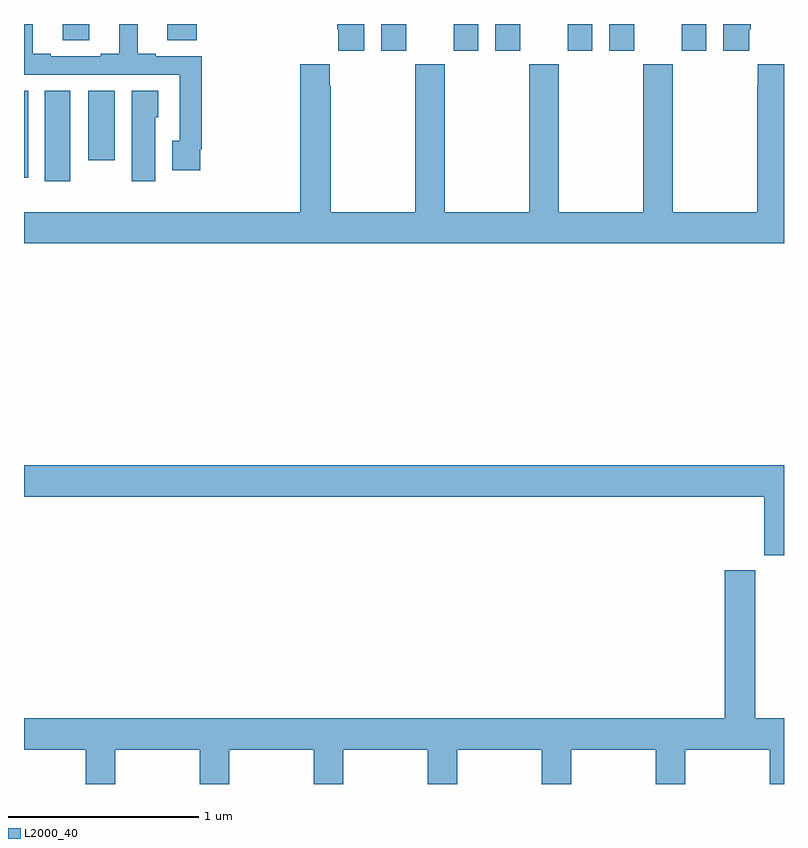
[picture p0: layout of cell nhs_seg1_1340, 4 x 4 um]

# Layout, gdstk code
import gdstk
lib = gdstk.Library(unit=1e-6, precision=1e-09)
def R(c, l, rs):  # rectangles x0, y0, x1, y1
    for r in rs: c.add(gdstk.rectangle(r[:2], r[2:], *l))
def P(c, l, *ps):  # polygons
    for p in ps: c.add(gdstk.Polygon(p, *l))
L2000_40 = (2000, 40)

nhs_seg1_1340 = lib.new_cell('nhs_seg1_1340')
R(nhs_seg1_1340, L2000_40, [(183.11,573.372,183.244,573.848), (183,573.39,183.022,573.848), (183.338,573.483,183.478,573.848), (184.88,574.059,185.011,574.199), (185.261,574.059,185.392,574.199), (185.48,574.059,185.611,574.199), (185.861,574.059,185.992,574.199), (186.08,574.059,186.211,574.199), (186.461,574.059,186.592,574.199), (183.203,574.114,183.343,574.199), (183.755,574.114,183.908,574.199)])
P(nhs_seg1_1340, L2000_40, [(183.928,573.541),(183.935,573.541),(183.935,574.029),(183.694,574.029),(183.694,574.042),(183.598,574.042),(183.598,574.199),(183.5,574.199),(183.5,574.042),(183.404,574.042),(183.404,574.029),(183.142,574.029),(183.142,574.042),(183.046,574.042),(183.046,574.199),(183,574.199),(183,573.933),(183.819,573.933),(183.819,573.585),(183.779,573.585),(183.779,573.429),(183.928,573.429)],
  [(186.817,574.171),(186.824,574.171),(186.824,574.199),(186.68,574.199),(186.68,574.059),(186.817,574.059)],
  [(184.792,574.199),(184.649,574.199),(184.649,574.171),(184.655,574.171),(184.655,574.059),(184.792,574.059)],
  [(187,573.988),(186.863,573.988),(186.863,573.875),(186.859,573.875),(186.859,573.208),(186.414,573.208),(186.414,573.988),(186.259,573.988),(186.259,573.208),(185.814,573.208),(185.814,573.988),(185.659,573.988),(185.659,573.208),(185.214,573.208),(185.214,573.988),(185.059,573.988),(185.059,573.208),(184.614,573.208),(184.614,573.875),(184.609,573.875),(184.609,573.988),(184.454,573.988),(184.454,573.208),(183,573.208),(183,573.044),(187,573.044)],
  [(183.691,573.708),(183.706,573.708),(183.706,573.848),(183.566,573.848),(183.566,573.372),(183.691,573.372)],
  [(187,571.876),(183,571.876),(183,571.712),(186.896,571.712),(186.896,571.403),(187,571.403)],
  [(186.689,571.324),(186.689,570.544),(183,570.544),(183,570.38),(183.325,570.38),(183.325,570.199),(183.48,570.199),(183.48,570.38),(183.925,570.38),(183.925,570.199),(184.08,570.199),(184.08,570.38),(184.525,570.38),(184.525,570.199),(184.68,570.199),(184.68,570.38),(185.125,570.38),(185.125,570.199),(185.28,570.199),(185.28,570.38),(185.725,570.38),(185.725,570.199),(185.88,570.199),(185.88,570.38),(186.325,570.38),(186.325,570.199),(186.48,570.199),(186.48,570.38),(186.925,570.38),(186.925,570.199),(187,570.199),(187,570.544),(186.849,570.544),(186.849,571.324)])

lib.write_gds('nhs_seg1_1340.gds')
